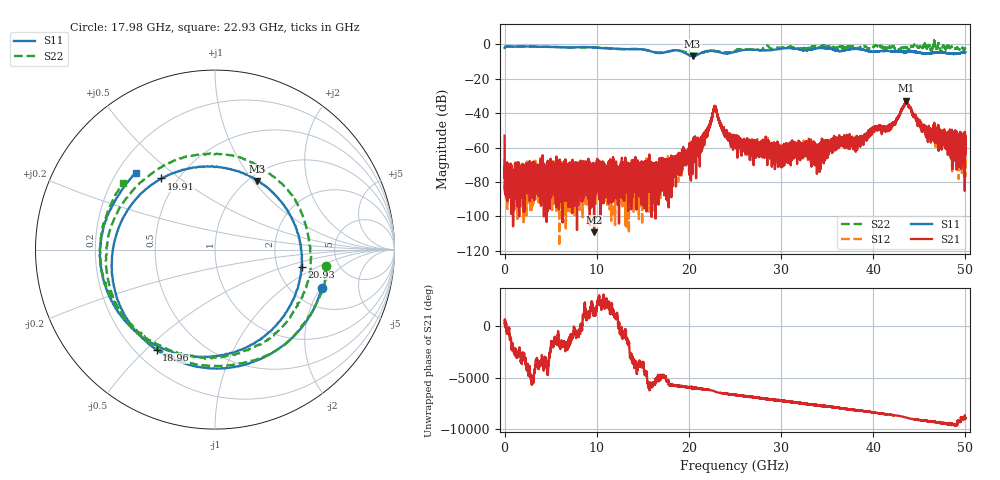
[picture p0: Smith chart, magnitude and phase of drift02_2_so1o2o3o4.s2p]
!Created with skrf (http://scikit-rf.org).
# Hz S RI R 50.0
!freq ReS11 ImS11 ReS21 ImS21 ReS12 ImS12 ReS22 ImS22
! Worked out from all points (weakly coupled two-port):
!   10001 points, 300 kHz to 50 GHz, reference 50 ohm
!   highest |S21| = -32.86 dB at 43.61 GHz (marker M1); lowest = -109.3 dB at 9.71 GHz (marker M2)
!   lowest |S11| = -6.9 dB at 20.4 GHz (marker M3), VSWR 2.63, Z = 54.7 + j52.5 ohm
!   |S11| at or under -10 dB: nowhere
!   |S22| runs from -5.7 to 2.1 dB; largest |S21 - S12| = 0.0032
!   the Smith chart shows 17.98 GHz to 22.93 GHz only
!   S11 on the Smith chart (normalised r, x): 17.98 GHz: 2.85, -2.04; 18.96 GHz: 0.28, -0.54; 19.91 GHz: 0.41, +0.43; 20.93 GHz: 2.74, -0.68; 22.93 GHz: 0.28, +0.38
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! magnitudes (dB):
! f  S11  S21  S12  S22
! 300 kHz  -2.1  -53.1  -66.5  -2.1
! 285.3 MHz  -1.4  -77.9  -95.7  -1.4
! 8.335 GHz  -1.7  -70.1  -75.7  -1.9
! 9.71 GHz  -2.0  -109.3  -75.0  -2.0
! 16.67 GHz  -5.2  -70.9  -75.3  -4.8
! 17.98 GHz  -4.0  -74.3  -69.5  -4.0
! 18.96 GHz  -3.8  -76.2  -71.6  -3.9
! 19.91 GHz  -6.1  -67.8  -63.7  -5.2
! 20.4 GHz  -6.9  -56.3  -57.5  -5.5
! 20.93 GHz  -6.2  -55.4  -61.1  -5.6
! 21.78 GHz  -4.3  -52.3  -53.6  -4.4
! 22.93 GHz  -4.2  -37.6  -37.5  -4.0
! 23.7 GHz  -5.2  -50.0  -49.3  -4.6
! 25 GHz  -4.5  -58.3  -56.5  -3.9
! 29.95 GHz  -2.7  -61.6  -63.4  -2.1
! 33.34 GHz  -3.0  -59.6  -57.7  -1.5
! 38.3 GHz  -2.8  -54.1  -54.2  -2.2
! 40.11 GHz  -4.4  -47.9  -50.0  -1.0
! 41.67 GHz  -4.0  -47.7  -48.0  -1.9
! 43.61 GHz  -4.4  -32.9  -33.2  -1.4
! 45.63 GHz  -5.4  -48.8  -49.5  0.0
! 50 GHz  -4.7  -57.1  -59.3  -2.6
